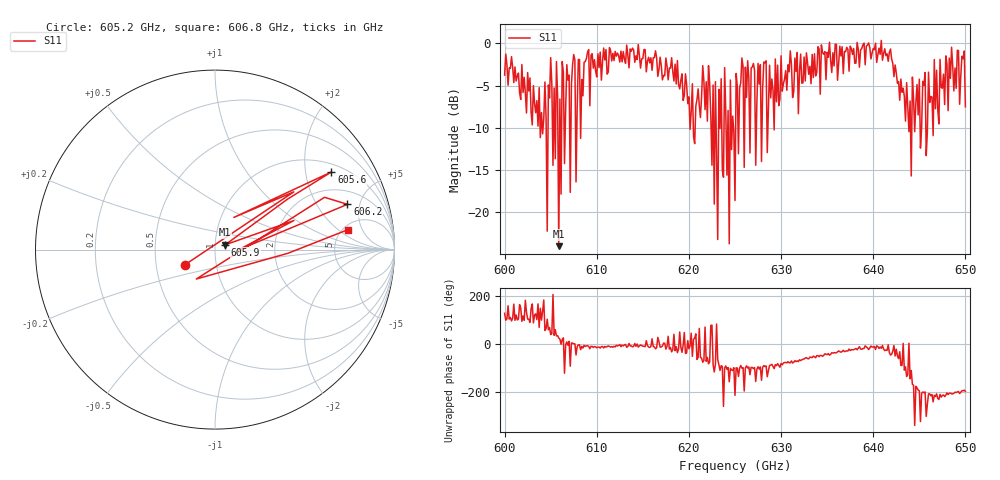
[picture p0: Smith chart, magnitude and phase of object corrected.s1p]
!Created with skrf (http://scikit-rf.org).
# GHz S MA R 50.0
!freq magS11 angS11
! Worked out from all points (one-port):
!   401 points, 600 GHz to 650 GHz, reference 50 ohm
!   lowest |S11| = -24.0 dB at 605.9 GHz (marker M1), VSWR 1.13, Z = 56 + j3 ohm
!   |S11| at or under -10 dB: 620.4793 GHz to 620.6776 GHz (198.3 MHz wide, 0.032 % of centre); 622.9549 GHz to 623.218 GHz (263.1 MHz wide, 0.0422 % of centre); 623.567 GHz to 623.8064 GHz (239.4 MHz wide, 0.0384 % of centre) (the widest 3 of 35)
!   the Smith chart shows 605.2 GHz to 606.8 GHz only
!   S11 on the Smith chart (normalised r, x): 605.2 GHz: 0.70, -0.12; 605.6 GHz: 1.26, +2.79; 605.9 GHz: 1.12, +0.06; 606.2 GHz: 2.96, +3.82; 606.8 GHz: 5.51, +2.77
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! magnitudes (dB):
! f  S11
! 600 GHz  -3.8
! 604.2 GHz  -8.9
! 604.4 GHz  -4.6
! 605 GHz  -1.7
! 605.2 GHz  -14.4
! 605.6 GHz  -2.2
! 605.9 GHz  -24.0
! 606.2 GHz  -2.2
! 606.8 GHz  -2.5
! 608 GHz  -1.9
! 608.9 GHz  -1.8
! 612.5 GHz  -2.2
! 618.8 GHz  -2.0
! 620.4 GHz  -4.8
! 622.1 GHz  -2.7
! 622.9 GHz  -4.5
! 623.8 GHz  -15.9
! 624.4 GHz  -23.7
! 625 GHz  -18.6
! 625.6 GHz  -4.7
! 628.8 GHz  -2.6
! 631.2 GHz  -6.4
! 637.5 GHz  -0.3
! 641.8 GHz  -1.1
! 643.8 GHz  -7.5
! 646 GHz  -3.4
! 648.5 GHz  -0.5
! 650 GHz  -7.5
